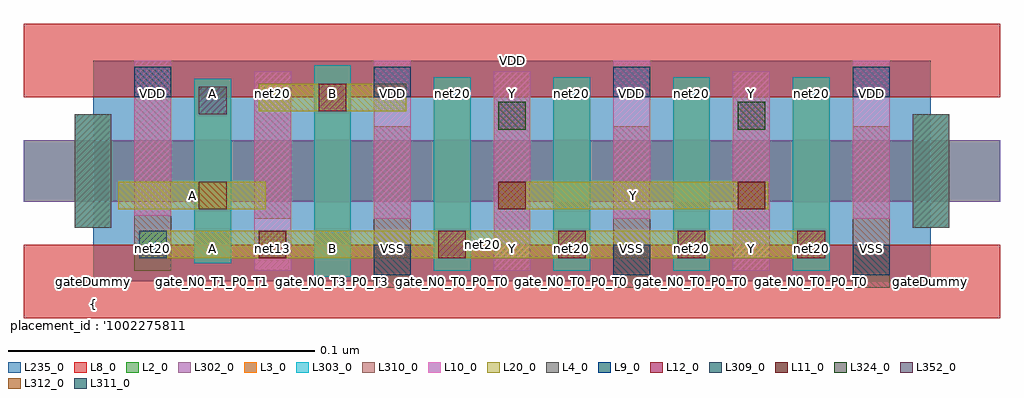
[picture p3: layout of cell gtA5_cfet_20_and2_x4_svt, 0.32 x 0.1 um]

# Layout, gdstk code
import gdstk
lib = gdstk.Library(unit=1e-6, precision=2.5e-10)
def R(c, l, rs):  # rectangles x0, y0, x1, y1
    for r in rs: c.add(gdstk.rectangle(r[:2], r[2:], *l))
def A(c, l, x, y, w, h, nx, ny, dx, dy):  # array of equal rectangles
    R(c, l, [(x+i*dx, y+j*dy, x+i*dx+w, y+j*dy+h) for i in range(nx) for j in range(ny)])
L2_0 = (2, 0)
L3_0 = (3, 0)
L4_0 = (4, 0)
L8_0 = (8, 0)
L9_0 = (9, 0)
L10_0 = (10, 0)
L11_0 = (11, 0)
L12_0 = (12, 0)
L20_0 = (20, 0)
L235_0 = (235, 0)
L302_0 = (302, 0)
L303_0 = (303, 0)
L309_0 = (309, 0)
L310_0 = (310, 0)
L311_0 = (311, 0)
L312_0 = (312, 0)
L324_0 = (324, 0)
L352_0 = (352, 0)

gta5_cfet_20_and2_x4_svt = lib.new_cell('gtA5_cfet_20_and2_x4_svt')
R(gta5_cfet_20_and2_x4_svt, L2_0, [(-0.0225,0.026,0.2955,0.046)])
A(gta5_cfet_20_and2_x4_svt, L3_0, 0.111, 0.0035, 0.012, 0.063, 4, 1, 0.039, 0)
R(gta5_cfet_20_and2_x4_svt, L3_0, [(0.072,0.0015,0.084,0.0705), (0.033,0.006,0.045,0.066), (-0.006,0.0175,0.006,0.0545), (0.267,0.0175,0.279,0.0545)])
R(gta5_cfet_20_and2_x4_svt, L4_0, [(-0.006,0.0175,0.006,0.0545), (0.267,0.0175,0.279,0.0545)])
R(gta5_cfet_20_and2_x4_svt, L8_0, [(-0.0225,-0.012,0.2955,0.012), (-0.0225,0.06,0.2955,0.084)])
A(gta5_cfet_20_and2_x4_svt, L9_0, 0.0135, 0.06, 0.012, 0.01, 4, 1, 0.078, 0)
A(gta5_cfet_20_and2_x4_svt, L10_0, 0.0525, 0.0035, 0.012, 0.065, 3, 1, 0.078, 0)
A(gta5_cfet_20_and2_x4_svt, L10_0, 0.0915, 0.0205, 0.012, 0.0515, 3, 1, 0.078, 0)
R(gta5_cfet_20_and2_x4_svt, L10_0, [(0.0135,0.0215,0.0255,0.072)])
R(gta5_cfet_20_and2_x4_svt, L11_0, [(0.054,0.0075,0.063,0.0165), (0.132,0.0235,0.141,0.0325), (0.21,0.0235,0.219,0.0325)])
A(gta5_cfet_20_and2_x4_svt, L12_0, 0.1125, 0.0075, 0.009, 0.009, 4, 1, 0.039, 0)
R(gta5_cfet_20_and2_x4_svt, L12_0, [(0.0735,0.0555,0.0825,0.0645)])
R(gta5_cfet_20_and2_x4_svt, L20_0, [(0.015,0.0075,0.2385,0.0165), (0.0083,0.0235,0.0563,0.0325), (0.132,0.0235,0.22,0.0325), (0.054,0.0555,0.102,0.0645)])
R(gta5_cfet_20_and2_x4_svt, L235_0, [(0,0,0.273,0.072)])
R(gta5_cfet_20_and2_x4_svt, L302_0, [(-0.0225,0.026,0.2955,0.046)])
A(gta5_cfet_20_and2_x4_svt, L303_0, 0.111, 0.0035, 0.012, 0.063, 4, 1, 0.039, 0)
R(gta5_cfet_20_and2_x4_svt, L303_0, [(0.072,0.0015,0.084,0.0705), (0.033,0.006,0.045,0.066), (-0.006,0.0175,0.006,0.0545), (0.267,0.0175,0.279,0.0545)])
A(gta5_cfet_20_and2_x4_svt, L309_0, 0.0915, 0.002, 0.012, 0.01, 3, 1, 0.078, 0)
A(gta5_cfet_20_and2_x4_svt, L310_0, 0.0915, -0.002, 0.012, 0.0525, 3, 1, 0.078, 0)
R(gta5_cfet_20_and2_x4_svt, L310_0, [(0.0135,0.0035,0.0255,0.072), (0.1305,0.0035,0.1425,0.0685), (0.2085,0.0035,0.2205,0.0685), (0.0525,0.0205,0.0645,0.0685)])
R(gta5_cfet_20_and2_x4_svt, L311_0, [(0.015,0.0075,0.024,0.0165)])
R(gta5_cfet_20_and2_x4_svt, L312_0, [(0.0345,0.0235,0.0435,0.0325)])
R(gta5_cfet_20_and2_x4_svt, L324_0, [(0.132,0.0495,0.141,0.0585), (0.21,0.0495,0.219,0.0585)])
R(gta5_cfet_20_and2_x4_svt, L352_0, [(0.0345,0.0545,0.0435,0.0635)])
gta5_cfet_20_and2_x4_svt.add(gdstk.Label('net20', (0.1268,0.012), layer=100, texttype=100))
gta5_cfet_20_and2_x4_svt.add(gdstk.Label('gateDummy', (0,0), layer=103, texttype=103))
gta5_cfet_20_and2_x4_svt.add(gdstk.Label('sd_N0_T0_P0_VDD', (0.0195,0), layer=103, texttype=103))
gta5_cfet_20_and2_x4_svt.add(gdstk.Label('gate_N0_T1_P0_T1', (0.039,0), layer=103, texttype=103))
gta5_cfet_20_and2_x4_svt.add(gdstk.Label('sd_N0_abut_P0_T0', (0.0585,0), layer=103, texttype=103))
gta5_cfet_20_and2_x4_svt.add(gdstk.Label('gate_N0_T3_P0_T3', (0.078,0), layer=103, texttype=103))
gta5_cfet_20_and2_x4_svt.add(gdstk.Label('sd_N0_VSS_P0_VDD', (0.0975,0), layer=103, texttype=103))
gta5_cfet_20_and2_x4_svt.add(gdstk.Label('gate_N0_T0_P0_T0', (0.117,0), layer=103, texttype=103))
gta5_cfet_20_and2_x4_svt.add(gdstk.Label('sd_N0_T1_P0_T1', (0.1365,0), layer=103, texttype=103))
gta5_cfet_20_and2_x4_svt.add(gdstk.Label('gate_N0_T0_P0_T0', (0.156,0), layer=103, texttype=103))
gta5_cfet_20_and2_x4_svt.add(gdstk.Label('sd_N0_VSS_P0_VDD', (0.1755,0), layer=103, texttype=103))
gta5_cfet_20_and2_x4_svt.add(gdstk.Label('gate_N0_T0_P0_T0', (0.195,0), layer=103, texttype=103))
gta5_cfet_20_and2_x4_svt.add(gdstk.Label('sd_N0_T1_P0_T1', (0.2145,0), layer=103, texttype=103))
gta5_cfet_20_and2_x4_svt.add(gdstk.Label('gate_N0_T0_P0_T0', (0.234,0), layer=103, texttype=103))
gta5_cfet_20_and2_x4_svt.add(gdstk.Label('sd_N0_VSS_P0_VDD', (0.2535,0), layer=103, texttype=103))
gta5_cfet_20_and2_x4_svt.add(gdstk.Label('gateDummy', (0.273,0), layer=103, texttype=103))
gta5_cfet_20_and2_x4_svt.add(gdstk.Label('}', (0,-0.0785), layer=104, texttype=104))
gta5_cfet_20_and2_x4_svt.add(gdstk.Label('  power : None', (0,-0.0713), layer=104, texttype=104))
gta5_cfet_20_and2_x4_svt.add(gdstk.Label('  performance : None', (0,-0.0643), layer=104, texttype=104))
gta5_cfet_20_and2_x4_svt.add(gdstk.Label("  solution_hash : '8275734302132191050'", (0,-0.057), layer=104, texttype=104))
gta5_cfet_20_and2_x4_svt.add(gdstk.Label('  number_m2 : 0', (0,-0.05), layer=104, texttype=104))
gta5_cfet_20_and2_x4_svt.add(gdstk.Label('  number_m1 : 0', (0,-0.0428), layer=104, texttype=104))
gta5_cfet_20_and2_x4_svt.add(gdstk.Label('  number_m0cuts : 0', (0,-0.0358), layer=104, texttype=104))
gta5_cfet_20_and2_x4_svt.add(gdstk.Label('  number_m0 : 4', (0,-0.0285), layer=104, texttype=104))
gta5_cfet_20_and2_x4_svt.add(gdstk.Label("  solution_number : '0000'", (0,-0.0215), layer=104, texttype=104))
gta5_cfet_20_and2_x4_svt.add(gdstk.Label("  placement_id : '10022758112739806896'", (0,-0.0143), layer=104, texttype=104))
gta5_cfet_20_and2_x4_svt.add(gdstk.Label('{', (0,-0.0073), layer=104, texttype=104))
gta5_cfet_20_and2_x4_svt.add(gdstk.Label('net20', (0.0195,0.0108), layer=105, texttype=105))
gta5_cfet_20_and2_x4_svt.add(gdstk.Label('A', (0.039,0.0108), layer=105, texttype=105))
gta5_cfet_20_and2_x4_svt.add(gdstk.Label('net13', (0.0585,0.0108), layer=105, texttype=105))
gta5_cfet_20_and2_x4_svt.add(gdstk.Label('B', (0.078,0.0108), layer=105, texttype=105))
gta5_cfet_20_and2_x4_svt.add(gdstk.Label('VSS', (0.0975,0.0108), layer=105, texttype=105))
gta5_cfet_20_and2_x4_svt.add(gdstk.Label('net20', (0.117,0.0108), layer=105, texttype=105))
gta5_cfet_20_and2_x4_svt.add(gdstk.Label('Y', (0.1365,0.0108), layer=105, texttype=105))
gta5_cfet_20_and2_x4_svt.add(gdstk.Label('net20', (0.156,0.0108), layer=105, texttype=105))
gta5_cfet_20_and2_x4_svt.add(gdstk.Label('VSS', (0.1755,0.0108), layer=105, texttype=105))
gta5_cfet_20_and2_x4_svt.add(gdstk.Label('net20', (0.195,0.0108), layer=105, texttype=105))
gta5_cfet_20_and2_x4_svt.add(gdstk.Label('Y', (0.2145,0.0108), layer=105, texttype=105))
gta5_cfet_20_and2_x4_svt.add(gdstk.Label('net20', (0.234,0.0108), layer=105, texttype=105))
gta5_cfet_20_and2_x4_svt.add(gdstk.Label('VSS', (0.2535,0.0108), layer=105, texttype=105))
gta5_cfet_20_and2_x4_svt.add(gdstk.Label('VDD', (0.0195,0.0612), layer=105, texttype=105))
gta5_cfet_20_and2_x4_svt.add(gdstk.Label('A', (0.039,0.0612), layer=105, texttype=105))
gta5_cfet_20_and2_x4_svt.add(gdstk.Label('net20', (0.0585,0.0612), layer=105, texttype=105))
gta5_cfet_20_and2_x4_svt.add(gdstk.Label('B', (0.078,0.0612), layer=105, texttype=105))
gta5_cfet_20_and2_x4_svt.add(gdstk.Label('VDD', (0.0975,0.0612), layer=105, texttype=105))
gta5_cfet_20_and2_x4_svt.add(gdstk.Label('net20', (0.117,0.0612), layer=105, texttype=105))
gta5_cfet_20_and2_x4_svt.add(gdstk.Label('Y', (0.1365,0.0612), layer=105, texttype=105))
gta5_cfet_20_and2_x4_svt.add(gdstk.Label('net20', (0.156,0.0612), layer=105, texttype=105))
gta5_cfet_20_and2_x4_svt.add(gdstk.Label('VDD', (0.1755,0.0612), layer=105, texttype=105))
gta5_cfet_20_and2_x4_svt.add(gdstk.Label('net20', (0.195,0.0612), layer=105, texttype=105))
gta5_cfet_20_and2_x4_svt.add(gdstk.Label('Y', (0.2145,0.0612), layer=105, texttype=105))
gta5_cfet_20_and2_x4_svt.add(gdstk.Label('net20', (0.234,0.0612), layer=105, texttype=105))
gta5_cfet_20_and2_x4_svt.add(gdstk.Label('VDD', (0.2535,0.0612), layer=105, texttype=105))
gta5_cfet_20_and2_x4_svt.add(gdstk.Label('VSS', (0.1365,0), layer=8, texttype=0))
gta5_cfet_20_and2_x4_svt.add(gdstk.Label('VDD', (0.1365,0.072), layer=8, texttype=0))
gta5_cfet_20_and2_x4_svt.add(gdstk.Label('A', (0.0323,0.028), layer=20, texttype=251))
gta5_cfet_20_and2_x4_svt.add(gdstk.Label('Y', (0.176,0.028), layer=20, texttype=251))
gta5_cfet_20_and2_x4_svt.add(gdstk.Label('B', (0.078,0.06), layer=20, texttype=251))
gta5_cfet_20_and2_x4_svt.add(gdstk.Label('gtA5_cfet_20_and2_x4_rvt_0', (0,0), layer=235, texttype=0))

lib.write_gds('gtA5_cfet_20_and2_x4_svt.gds')
